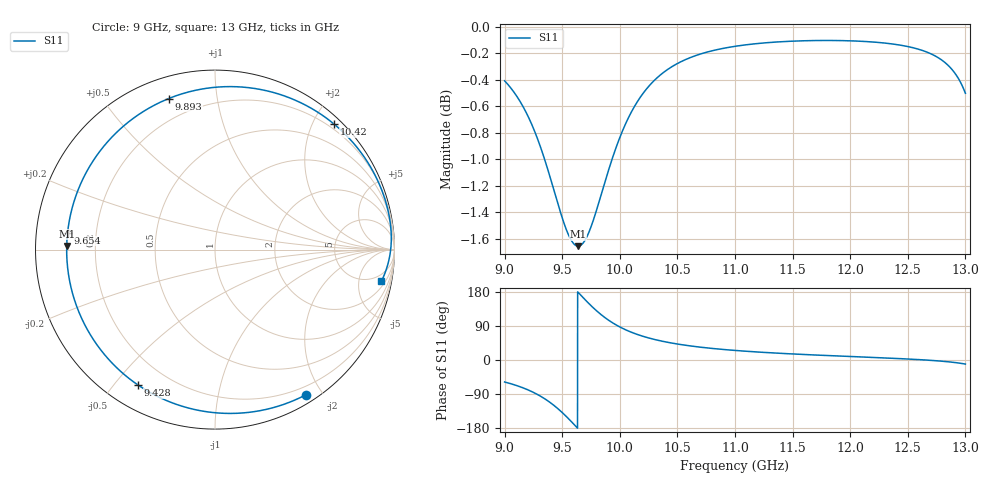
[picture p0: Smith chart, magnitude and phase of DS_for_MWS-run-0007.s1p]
! TOUCHSTONE file generated by CST DESIGN STUDIO
! Date and time: Tue Feb  4 18:13:28 2025
! Project name: C:\Work\MatlabApps\UnitCellOptimizationMatlab\CST\unitcell.cst
! Tree item: Tasks\Sweep1\SPara1\S-Parameters
! Header version: 2024
! Port assignment regex: !\s*Touchstone port\s*([0-9]+)\s*=\s*(CST MWS port|CST DES external port|CST DES block port)\s*(.+)\s* \(\"(.*)\"\)(\s*mode\s*([0-9]+))?.*
! Touchstone port assignment:
! Touchstone port 1 = CST DES external port 1 ("")
# GHz S MA R 50
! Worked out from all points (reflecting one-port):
!   4001 points, 9 GHz to 13 GHz, reference 50 ohm
!   lowest |S11| = -1.7 dB at 9.638 GHz (marker M1), VSWR 10.52, Z = 4.75 + j0.615 ohm
!   phase of S11 starts at -58 deg and turns -313 deg over the sweep
!   S11 on the Smith chart (normalised r, x): 9 GHz: 0.10, -1.80; 9.428 GHz: 0.09, -0.58; 9.654 GHz: 0.10, +0.06; 9.893 GHz: 0.10, +0.73; 10.42 GHz: 0.12, +2.32; 13 GHz: 3, -10
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9  0.9542 -58.1
9.059  0.9476 -63.1
9.135  0.9371 -70.7
9.266  0.912 -87.9
9.353  0.8897 -103.3
9.428  0.8677 -119.7
9.5  0.8471 -138.6
9.573  0.8315 -160.5
9.638  0.8264 178.6
9.654  0.8267 173.4
9.712  0.8328 154.9
9.778  0.8473 135.4
9.834  0.863 120.6
9.893  0.8802 107.0
9.944  0.8943 96.9
10  0.9083 87.2
10.092  0.9272 74.3
10.19  0.9423 63.6
10.297  0.9543 54.5
10.419  0.9639 46.5
10.5  0.9686 42.2
10.72  0.9773 33.1
11  0.9832 25.2
11.5  0.9877 15.9
12  0.9879 9.2
12.5  0.983 2.6
12.793  0.9717 -3.1
13  0.9439 -10.7
